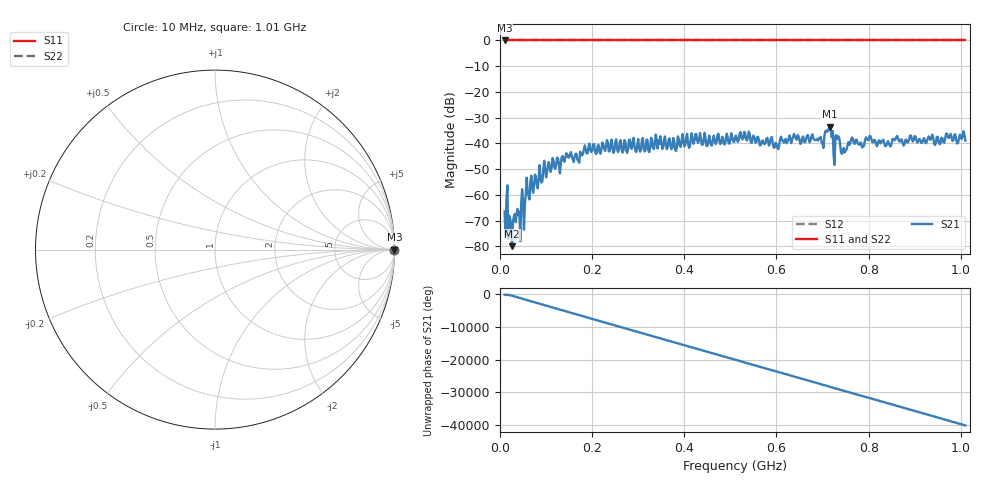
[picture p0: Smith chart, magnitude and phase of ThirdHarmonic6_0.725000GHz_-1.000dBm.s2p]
! 8/16/2025 12:15:25 AM
! C:\ANRITSUVNA\TEMP\TEMP.S2P
! CHANNEL.1
! TR.MEASUREMENT
! RAW.DATA
! RF.CORRECTION.OFF
! AVERAGING.OFF
! IF.BANDWIDTH: 5KHZ
! SWEEPTYPE:  FREQ.SWEEP(Linear)
! Reference Plane Port Info
! PORT:  PORT1  PORT2
! DISTANCE:  0  m  0  m
! TIME:  0  s  0  s
! PHASE.OFFSET:  0  deg.  0  deg.
! LOSS:  0  dB  0  dB
! REF.LOSS:  0  dB  0  dB
! REF.FREQ:  0  Hz  0  Hz
! Power Info
! POWER:  -20  dBm  -20  dBm
! EFF.POWER:  -20  dBm  -20  dBm
! SOURCE.ATTEN:  0  dB  0  dB
! TEST.ATTEN:  0  dB  0  dB
# GHZ S RI R 50.0
! FREQ.GHZ  S11RE  S11IM  S21RE  S21IM  S12RE  S12IM  S22RE  S22IM
!; PortSelection: Port_12
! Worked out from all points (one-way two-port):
!   501 points, 10 MHz to 1.01 GHz, reference 50 ohm
!   highest |S21| = -33.58 dB at 716 MHz (marker M1); lowest = -80.0 dB at 26 MHz (marker M2)
!   lowest |S11| = 0.0 dB at 10 MHz (marker M3)
!   |S11| at or under -10 dB: nowhere
!   |S22| runs from 0.0 to 0.0 dB; largest |S21 - S12| = 1
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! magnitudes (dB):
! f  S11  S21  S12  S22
! 10 MHz  0.0  -66.5  0.0  0.0
! 18 MHz  0.0  -77.2  0.0  0.0
! 22 MHz  0.0  -69.3  0.0  0.0
! 26 MHz  0.0  -80.0  0.0  0.0
! 34 MHz  0.0  -70.7  0.0  0.0
! 48 MHz  0.0  -57.8  0.0  0.0
! 62 MHz  0.0  -60.4  0.0  0.0
! 98 MHz  0.0  -49.9  0.0  0.0
! 178 MHz  0.0  -44.7  0.0  0.0
! 344 MHz  0.0  -38.8  0.0  0.0
! 510 MHz  0.0  -38.0  0.0  0.0
! 600 MHz  0.0  -40.1  0.0  0.0
! 678 MHz  0.0  -36.5  0.0  0.0
! 698 MHz  0.0  -39.6  0.0  0.0
! 716 MHz  0.0  -33.6  0.0  0.0
! 722 MHz  0.0  -35.2  0.0  0.0
! 728 MHz  0.0  -36.9  0.0  0.0
! 732 MHz  0.0  -38.3  0.0  0.0
! 744 MHz  0.0  -43.3  0.0  0.0
! 764 MHz  0.0  -37.7  0.0  0.0
! 844 MHz  0.0  -40.1  0.0  0.0
! 1.01 GHz  0.0  -38.9  0.0  0.0
